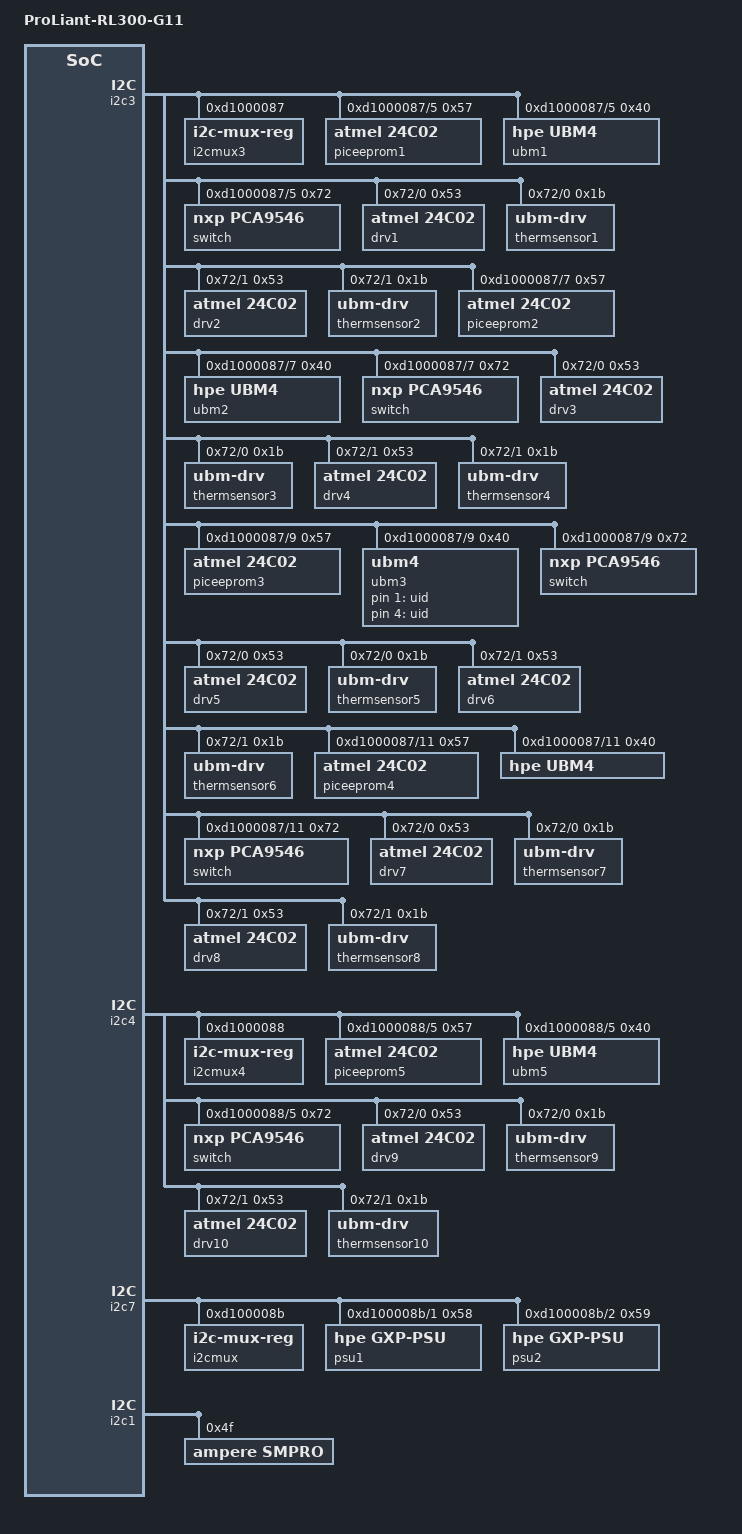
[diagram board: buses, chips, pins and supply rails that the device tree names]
/dts-v1/;
/plugin/;
/ {
    fragment@0 {
        target-path = "/";
        __overlay__ {
            model = "ProLiant-RL300-G11";
        };
    };
    fragment@1 {
    target-path = "/ahb@80000000";
    __overlay__ {
      i2cmux3: i2cmux@3 {
      compatible = "i2c-mux-reg";
      i2c-parent = <&i2c3>;
      reg = <0xd1000087 1>;
      #address-cells = <1>;
      #size-cells = <0>;
      /* 5 7 9 b */
      i2c3_5: i2c3@5 {
              reg = <5>;
              #address-cells = <1>;
              #size-cells = <0>;
              piceeprom1: piceeprom@1 {
                compatible = "atmel,24c02";
                label = "piceeprom1";
                reg = <0x57>;
              };
              ubm1: ubm@40 {
                      compatible = "hpe,ubm4";
                      eeprom_phandle = <&piceeprom1>;
                      reg = <0x40>;
                      #gpio-cells = <2>;
                      gpio-line-names = "1_DRV1_PRESENCE", "1_DRV1_UUID", "1_DRV1_ACT",
                                        "1_DRV2_PRESENCE", "1_DRV2_UUID", "1_DRV2_ACT";
              };

              switch@72 {
                     compatible = "nxp,pca9546";
                     #address-cells = <1>;
                     #size-cells = <0>;
                     reg = <0x72>;
                     i2c@0 {
                        #address-cells = <1>;
                        #size-cells = <0>;
                        reg = <0>;
                        drveeprom1@53 {
                                compatible = "atmel,24c02";
                                label = "drv1";
                                reg = <0x53>;
                        };
                        thermsensor1@1b {
                                compatible = "ubm-drv";
                                uid-led = <&leddrv1>;
                                reg = < 0x1b>;
                        };
                     };
                     i2c@1 {
                        #address-cells = <1>;
                        #size-cells = <0>;
                        reg = <1>;
                        drveeprom2@53 {
                                compatible = "atmel,24c02";
                                label = "drv2";
                                reg = <0x53>;
                        };
                        thermsensor2@1b {
                                compatible = "ubm-drv";
                                uid-led = <&leddrv2>;
                                reg = < 0x1b>;
                        };
                     };
              };



      };

      i2c3_7: i2c3@7 {
              reg = <7>;
              #address-cells = <1>;
              #size-cells = <0>;
              piceeprom2: piceeprom@2 {
                compatible = "atmel,24c02";
                label = "piceeprom2";
                reg = <0x57>;
              };
              ubm2: ubm@40 {
                      compatible = "hpe,ubm4";
                      eeprom_phandle = <&piceeprom2>;
                      reg = <0x40>;
                      #gpio-cells = <2>;
                      gpio-line-names = "2_DRV3_PRESENCE", "2_DRV3_UUID", "2_DRV3_ACT",
                                        "2_DRV4_PRESENCE", "2_DRV4_UUID", "2_DRV4_ACT";
              };
              switch@72 {
                     compatible = "nxp,pca9546";
                     #address-cells = <1>;
                     #size-cells = <0>;
                     reg = <0x72>;

                     i2c@0 {
                        #address-cells = <1>;
                        #size-cells = <0>;
                        reg = <0>;
                        drveeprom3@53 {
                                compatible = "atmel,24c02";
                                label = "drv3";
                                reg = <0x53>;
                        };
                        thermsensor3@1b {
                                compatible = "ubm-drv";
                                uid-led = <&leddrv1>;
                                reg = < 0x1b>;
                        };

                     };
                     i2c@1 {
                        #address-cells = <1>;
                        #size-cells = <0>;
                        reg = <1>;
                        drveeprom4@53 {
                                compatible = "atmel,24c02";
                                label = "drv4";
                                reg = <0x53>;
                        };
                        thermsensor4@1b {
                                compatible = "ubm-drv";
                                uid-led = <&leddrv2>;
                                reg = < 0x1b>;

                     };
              };
      };
};

      i2c3_9: i2c3@9 {
              reg = <9>;
              #address-cells = <1>;
              #size-cells = <0>;
              piceeprom3: piceeprom@3 {
                compatible = "atmel,24c02";
                label = "piceeprom3";
                reg = <0x57>;
              };
              ubm3: ubm@40 {
                      compatible = "ubm4";
                      eeprom_phandle = <&piceeprom3>;
                      reg = <0x40>;
                      #gpio-cells = <2>;
                      gpio-line-names = "3_DRV5_PRESENCE", "3_DRV5_UUID", "3_DRV5_ACT",
                                        "3_DRV6_PRESENCE", "3_DRV6_UUID", "3_DRV6_ACT";
              };
              switch@72 {
                     compatible = "nxp,pca9546";
                     #address-cells = <1>;
                     #size-cells = <0>;
                     reg = <0x72>;
                     i2c@0 {
                        #address-cells = <1>;
                        #size-cells = <0>;
                        reg = <0>;
                        drveeprom5@53 {
                                compatible = "atmel,24c02";
                                label = "drv5";
                                reg = <0x53>;
                        };
                        thermsensor5@1b {
                                compatible = "ubm-drv";
                                uid-led = <&leddrv1>;
                                reg = < 0x1b>;
                        };
                     };
                     i2c@1 {
                        #address-cells = <1>;
                        #size-cells = <0>;
                        reg = <1>;
                        drveeprom6@53 {
                                compatible = "atmel,24c02";
                                label = "drv6";
                                reg = <0x53>;
                        };
                        thermsensor6@1b {
                                compatible = "ubm-drv";
                                uid-led = <&leddrv2>;
                                reg = < 0x1b>;
                        };
                     };
              };
        };

      i2c3_b: i2c3@b {
              reg = <0xb>;
              #address-cells = <1>;
              #size-cells = <0>;
              piceeprom4: piceeprom@4 {
                compatible = "atmel,24c02";
                label = "piceeprom4";
                reg = <0x57>;
              };
              ubm4: ubm@40 {
                      compatible = "hpe,ubm4";
                      eeprom_phandle = <&piceeprom4>;
                      reg = <0x40>;
                      #gpio-cells = <2>;
                      gpio-line-names = "4_DRV7_PRESENCE", "4_DRV7_UUID", "4_DRV7_ACT",
                                        "4_DRV8_PRESENCE", "4_DRV8_UUID", "4_DRV8_ACT";
              };
              switch@72 {
                     compatible = "nxp,pca9546";
                     #address-cells = <1>;
                     #size-cells = <0>;
                     reg = <0x72>;
                     i2c@0 {
                        #address-cells = <1>;
                        #size-cells = <0>;
                        reg = <0>;
                        drveeprom7@53 {
                                compatible = "atmel,24c02";
                                label = "drv7";
                                reg = <0x53>;
                        };
                        thermsensor7@1b {
                                compatible = "ubm-drv";
                                uid-led = <&leddrv1>;
                                reg = < 0x1b>;
                        };
                     };
                     i2c@1 {
                        #address-cells = <1>;
                        #size-cells = <0>;
                        reg = <1>;
                        drveeprom8@53 {
                                compatible = "atmel,24c02";
                                label = "drv8";
                                reg = <0x53>;
                        };
                        thermsensor8@1b {
                                compatible = "ubm-drv";
                                uid-led = <&leddrv2>;
                                reg = < 0x1b>;
                        };
                     };
          };

   };
};

      i2cmux4: i2cmux@4 {
      compatible = "i2c-mux-reg";
      i2c-parent = <&i2c4>;
      reg = <0xd1000088 1>;
      #address-cells = <1>;
      #size-cells = <0>;
      i2c4_5: i2c4@5 {
              reg = <5>;
              #address-cells = <1>;
              #size-cells = <0>;
              piceeprom5: piceeprom@5 {
                compatible = "atmel,24c02";
                label = "piceeprom5";
                reg = <0x57>;
              };
              ubm5: ubm@40 {
                      compatible = "hpe,ubm4";
                      eeprom_phandle = <&piceeprom5>;
                      reg = <0x40>;
                      #gpio-cells = <2>;
                      gpio-line-names = "5_DRV9_PRESENCE", "5_DRV9_UUID", "5_DRV9_ACT",
                                        "5_DRV10_PRESENCE", "5_DRV10_UUID", "5_DRV10_ACT";
              };
              switch@72 {
                     compatible = "nxp,pca9546";
                     #address-cells = <1>;
                     #size-cells = <0>;
                     reg = <0x72>;
                     i2c@0 {
                        #address-cells = <1>;
                        #size-cells = <0>;
                        reg = <0>;
                        drveeprom9@53 {
                                compatible = "atmel,24c02";
                                label = "drv9";
                                reg = <0x53>;
                        };
                        thermsensor9@1b {
                                compatible = "ubm-drv";
                                uid-led = <&leddrv1>;
                                reg = < 0x1b>;
                        };
                     };
                     i2c@1 {
                        #address-cells = <1>;
                        #size-cells = <0>;
                        reg = <1>;
                        drveeprom10@53 {
                                compatible = "atmel,24c02";
                                label = "drv10";
                                reg = <0x53>;
                        };
                        thermsensor10@1b {
                                compatible = "ubm-drv";
                                uid-led = <&leddrv2>;
                                reg = < 0x1b>;
                        };
                     };


              };
      };
};



  /* add PSU mux */
    i2cmux@7 {
      compatible = "i2c-mux-reg";
      i2c-parent = <&i2c7>;
      reg = <0xd100008b 1>;
      #address-cells = <1>;
      #size-cells = <0>;
      i2c7@1 {
        reg = <1>;
        #address-cells = <1>;
        #size-cells = <0>;
        psu1: psu@58 {
                compatible = "hpe,gxp-psu";
                reg = <0x58>;
        };
      };
      i2c7@2 {
        reg = <2>;
        #address-cells = <1>;
        #size-cells = <0>;
        psu2: psu@59 {
                compatible = "hpe,gxp-psu";
                reg = <0x59>;
        };
      };
    };

    syspower: syspower {
      compatible = "hpe,gxp-power";
      psu_phandle = <&psu1>, <&psu2>;
    };

    leddrv1: leddrv1 {
      compatible = "gpio-leds";
      uid {
          gpios = <&ubm3 1 0>;
          default-state = "off";
      };
    };
    leddrv2: leddrv2 {
      compatible = "gpio-leds";
      uid {
          gpios = <&ubm3 4 0>;
          default-state = "off";
      };
    };
  };
};
  fragment@2 {
    // target-path = "/ahb@80000000/i2c@c0002100";
    target = <&i2c1>;
    __overlay__ {
      bus-frequency = <400000>;

      smpro@4f {
            compatible = "ampere,smpro";
            reg = <0x4f>;
            #address-cells = <1>;
            #size-cells = <0>;
	    cpu-monitor = <1>;

            hwmon {
                compatible = "ampere,ac01-hwmon";
            };

            misc {
                compatible = "ampere,ac01-misc";
            };

            errmon {
                compatible = "ampere,ac01-errmon";
            };

        };
     };
  };
};
